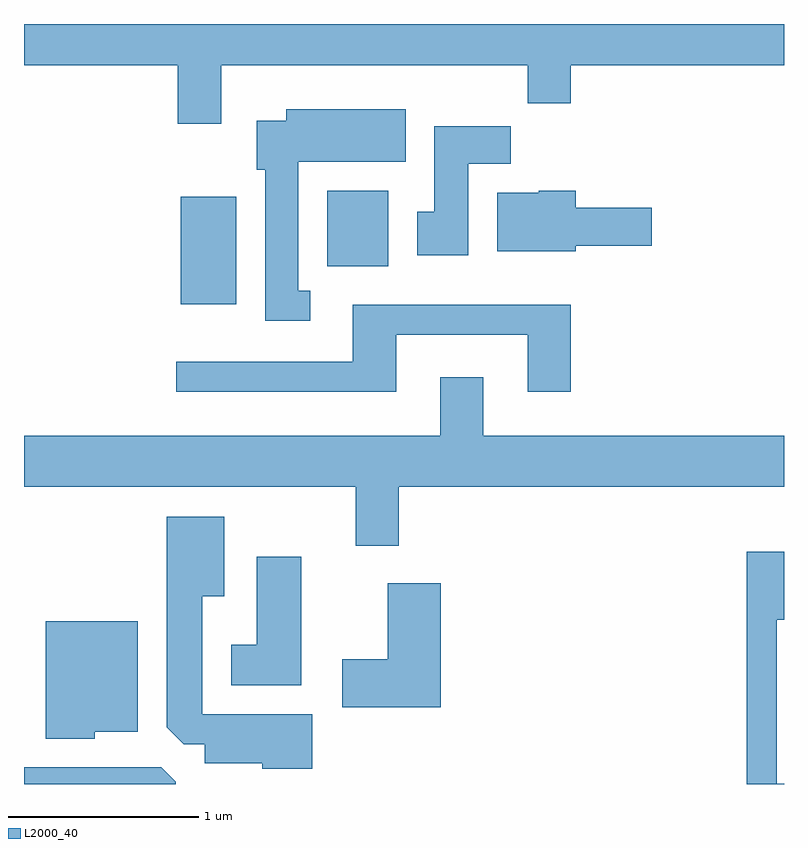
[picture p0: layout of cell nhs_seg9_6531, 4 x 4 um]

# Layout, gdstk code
import gdstk
lib = gdstk.Library(unit=1e-6, precision=1e-09)
def R(c, l, rs):  # rectangles x0, y0, x1, y1
    for r in rs: c.add(gdstk.rectangle(r[:2], r[2:], *l))
def P(c, l, *ps):  # polygons
    for p in ps: c.add(gdstk.Polygon(p, *l))
L2000_40 = (2000, 40)

nhs_seg9_6531 = lib.new_cell('nhs_seg9_6531')
R(nhs_seg9_6531, L2000_40, [(378.436,2034.956,378.729,2035.524), (379.206,2035.156,379.529,2035.554)])
P(nhs_seg9_6531, L2000_40, [(378.649,2036.216),(380.261,2036.216),(380.261,2036.016),(380.489,2036.016),(380.489,2036.216),(381.611,2036.216),(381.611,2036.432),(377.611,2036.432),(377.611,2036.216),(378.421,2036.216),(378.421,2035.906),(378.649,2035.906)],
  [(379.118,2035.029),(379.054,2035.029),(379.054,2035.706),(379.619,2035.706),(379.619,2035.984),(378.991,2035.984),(378.991,2035.924),(378.836,2035.924),(378.836,2035.666),(378.881,2035.666),(378.881,2034.871),(379.118,2034.871)],
  [(379.949,2035.696),(380.174,2035.696),(380.174,2035.894),(379.771,2035.894),(379.771,2035.444),(379.681,2035.444),(379.681,2035.216),(379.949,2035.216)],
  [(380.514,2035.266),(380.914,2035.266),(380.914,2035.464),(380.514,2035.464),(380.514,2035.554),(380.32,2035.554),(380.32,2035.544),(380.101,2035.544),(380.101,2035.236),(380.514,2035.236)],
  [(379.569,2034.796),(380.261,2034.796),(380.261,2034.496),(380.489,2034.496),(380.489,2034.954),(379.341,2034.954),(379.341,2034.654),(378.413,2034.654),(378.413,2034.496),(379.569,2034.496)],
  [(379.584,2033.996),(381.611,2033.996),(381.611,2034.264),(380.029,2034.264),(380.029,2034.574),(379.801,2034.574),(379.801,2034.264),(377.611,2034.264),(377.611,2033.996),(379.356,2033.996),(379.356,2033.686),(379.584,2033.686)],
  [(379.129,2032.799),(378.549,2032.799),(378.549,2033.421),(378.664,2033.421),(378.664,2033.839),(378.361,2033.839),(378.361,2032.732),(378.452,2032.641),(378.561,2032.641),(378.561,2032.541),(378.866,2032.541),(378.866,2032.511),(379.129,2032.511)],
  [(381.611,2032.434),(381.574,2032.434),(381.574,2033.296),(381.611,2033.296),(381.611,2033.654),(381.416,2033.654),(381.416,2032.432),(381.611,2032.432)],
  [(379.069,2033.629),(378.836,2033.629),(378.836,2033.164),(378.701,2033.164),(378.701,2032.951),(379.069,2032.951)],
  [(379.804,2033.489),(379.526,2033.489),(379.526,2033.089),(379.286,2033.089),(379.286,2032.836),(379.804,2032.836)],
  [(377.984,2032.706),(378.209,2032.706),(378.209,2033.289),(377.726,2033.289),(377.726,2032.671),(377.984,2032.671)],
  [(378.409,2032.444),(378.334,2032.519),(377.611,2032.519),(377.611,2032.432),(378.409,2032.432)])

lib.write_gds('nhs_seg9_6531.gds')
